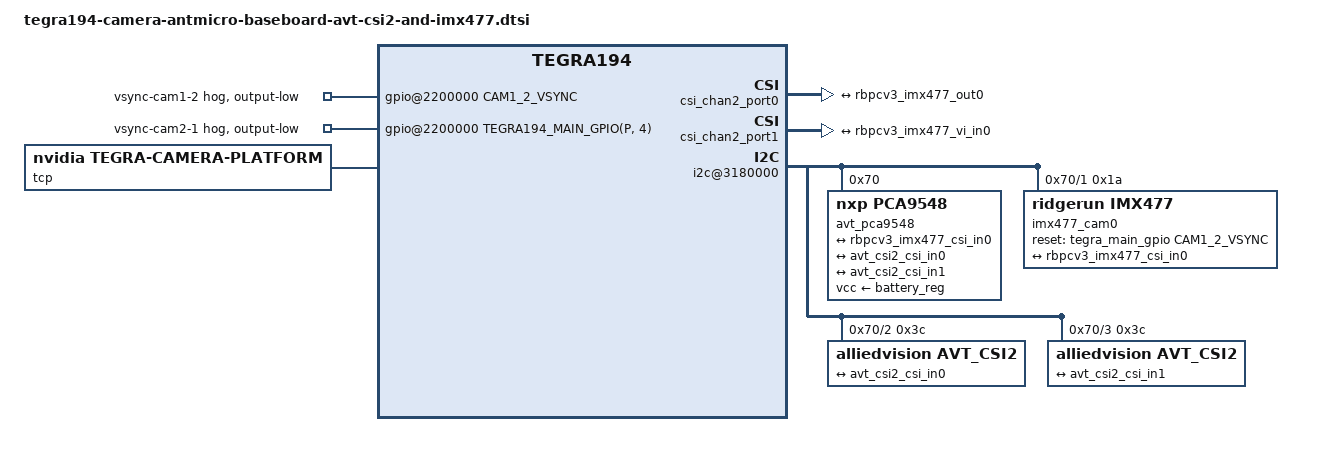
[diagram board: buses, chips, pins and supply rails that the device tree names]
/*
 * Copyright (c) 2018-2020, NVIDIA CORPORATION.  All rights reserved.
 *
 * This program is free software; you can redistribute it and/or modify
 * it under the terms of the GNU General Public License as published by
 * the Free Software Foundation; either version 2 of the License, or
 * (at your option) any later version.
 *
 * This program is distributed in the hope that it will be useful, but WITHOUT
 * ANY WARRANTY; without even the implied warranty of MERCHANTABILITY or
 * FITNESS FOR A PARTICULAR PURPOSE.  See the GNU General Public License for
 * more details.
 *
 * You should have received a copy of the GNU General Public License
 * along with this program.  If not, see <http://www.gnu.org/licenses/>.
 */
#include <dt-bindings/media/camera.h>

#define CAMERA_I2C_MUX_BUS(x) (0x1E + x)

#define CAM1_2_VSYNC	TEGRA194_MAIN_GPIO(Q, 6)
#define CAM2_2_VSYNC	TEGRA194_AON_GPIO(CC, 3)

#define ALVIUM_CSI_LANES      2
#define ALVIUM_CSI_LANES_STR  "2"

/ {
	gpio@2200000 {

		// This is the configuration for the first camera on J6, which we don't use
		//  It uses VSYNC_CAM1_1 == pin 228 == GPIO13 == GPIO3_PN.01
		//
		// vsync-cam1-1 {
		// 	gpio-hog;
		// 	output-low;
		// 	gpios = <TEGRA194_MAIN_GPIO(N, 1) 0>;
		// 	label = "vsync-cam1-1";
		// 	status = "okay";
		// };

		// Color camera on J6
		// It uses VSYNC_CAM1_2 == pin 216 == GPIO11 == GPIO3_PQ.06 == gpiochip0.134
		vsync-cam1-2 {
			gpio-hog;
			output-low;
			gpios = <CAM1_2_VSYNC 0>;
			label = "vsync-cam1-2";
			status = "okay";
		};

		// Left stereo camera on J7
		// It uses VSYNC_CAM2_1 == pin 114 == CAM0_PWDN == GPIO3_PP.04 == gpiochip0.124
		vsync-cam2-1 {
			gpio-hog;
			output-low;
			gpios = <TEGRA194_MAIN_GPIO(P, 4) 0>;
			label = "vsync-cam2-1";
			status = "okay";
		};

		// Right stereo camera on J7
		// It uses VSYNC_CAM2_2 == pin 130 == GPIO06 == GPIO3_PCC.03 == gpiochip1.19
		//  == ball name "SPI2_CS0"
		//
		// Strangely, when enabled, it breaks access to the QSPI?
		//
		// vsync-cam2-2 {
		// 	gpio-hog;
		// 	output-low;
		// 	gpios = <CAM2_2_VSYNC 0>;
		// 	label = "vsync-cam2-2";
		// 	status = "okay";
		// };

	};

	host1x {
		vi@15c10000  {
			num-channels = <3>;
			ports {
				#address-cells = <1>;
				#size-cells = <0>;
				vi_port0: port@0 {
					reg = <0>;
					avt_csi2_vi_in0: endpoint {
						port-index = <0>;
						bus-width = <ALVIUM_CSI_LANES>;
						remote-endpoint = <&avt_csi2_csi_out0>;
					};
				};
				vi_port1: port@1 {
					reg = <1>;
					avt_csi2_vi_in1: endpoint {
						port-index = <4>;
						bus-width = <ALVIUM_CSI_LANES>;
						remote-endpoint = <&avt_csi2_csi_out1>;
					};
				};
				vi_port2: port@2 {
					reg = <2>;
					rbpcv3_imx477_vi_in0: endpoint {
						status = "okay";
						port-index = <2>;
						bus-width = <2>;
						remote-endpoint = <&rbpcv3_imx477_csi_out0>;
					};
				};
			};
		};

		nvcsi@15a00000 {
			num-channels = <3>;
			#address-cells = <1>;
			#size-cells = <0>;
			csi_chan0: channel@0 {
				reg = <0>;
				ports {
					#address-cells = <1>;
					#size-cells = <0>;
					csi_chan0_port0: port@0 {
						reg = <0>;
						avt_csi2_csi_in0: endpoint@0 {
							port-index = <0>;
							bus-width = <ALVIUM_CSI_LANES>;
							remote-endpoint = <&avt_csi2_out0>;
						};
					};
					csi_chan0_port1: port@1 {
						reg = <1>;
						avt_csi2_csi_out0: endpoint@1 {
							remote-endpoint = <&avt_csi2_vi_in0>;
						};
					};
				};
			};
			csi_chan1: channel@1 {
				reg = <1>;
				ports {
					#address-cells = <1>;
					#size-cells = <0>;
					csi_chan1_port0: port@0 {
						reg = <0>;
						avt_csi2_csi_in1: endpoint@0 {
							port-index = <4>;
							bus-width = <ALVIUM_CSI_LANES>;
							remote-endpoint = <&avt_csi2_out1>;
						};
					};
					csi_chan1_port1: port@1 {
						reg = <1>;
						avt_csi2_csi_out1: endpoint@1 {
							remote-endpoint = <&avt_csi2_vi_in1>;
						};
					};
				};
			};
			csi_chan2: channel@2 {
				reg = <2>;
				ports {
					#address-cells = <1>;
					#size-cells = <0>;
					csi_chan2_port0: port@0 {
						reg = <0>;
						status = "okay";
						rbpcv3_imx477_csi_in0: endpoint@0 {
							port-index = <2>;
							bus-width = <2>;
							remote-endpoint = <&rbpcv3_imx477_out0>;
						};
					};
					csi_chan2_port1: port@1 {
						reg = <1>;
						status = "okay";
						rbpcv3_imx477_csi_out0: endpoint@1 {
							status = "okay";
							remote-endpoint = <&rbpcv3_imx477_vi_in0>;
						};
					};
				};
			};
		};
	};

	i2c@3180000 {
		avt_pca9548: avt_pca9548@70 {
			compatible = "nxp,pca9548";
			status = "okay";
			reg = <0x70>;
			#address-cells = <1>;
			#size-cells = <0>;
			vcc-supply = <&battery_reg>;
			force_bus_start = <CAMERA_I2C_MUX_BUS(0)>;

			/* I2C mux position 0 / virtual I2C bus 30 is unused */

			/* I2C mux position 1 is the "color" camera on J6
			   Virtual I2C bus 31
			   It uses CSI port C with two lanes */
			i2c@1 {
				reg = <1>;
				i2c-mux,deselect-on-exit;
				#address-cells = <1>;
				#size-cells = <0>;
				imx477_cam0: imx477@1a {
					compatible = "ridgerun,imx477";
					/* I2C device address */
					reg = <0x1a>;

					/* V4L2 device node location */
					devnode = "video2";

					/* Physical dimensions of sensor */
					physical_w = "7.564";
					physical_h = "5.476";

					sensor_model = "imx477";

					use_sensor_mode_id = "true";

					reset-gpios = <&tegra_main_gpio CAM1_2_VSYNC GPIO_ACTIVE_HIGH>;


					mode0 { /* IMX477_MODE_4032X3040 */
						mclk_khz = "24000";
						num_lanes = "2";
						tegra_sinterface = "serial_c";
						phy_mode = "DPHY";
						discontinuous_clk = "no";
						dpcm_enable = "false";
						cil_settletime = "0";

						active_w = "4032";
						active_h = "3040";
						mode_type = "bayer";
						pixel_phase = "rggb";
						csi_pixel_bit_depth = "10";
						readout_orientation = "90";
						line_length = "9024";
						inherent_gain = "1";
						mclk_multiplier = "80";
						pix_clk_hz = "840000000";

						gain_factor = "16";
						framerate_factor = "1000000";
						exposure_factor = "1000000";
						min_gain_val = "16"; /* 1.00x */
						max_gain_val = "356"; /* 22x */
						step_gain_val = "1";
						default_gain = "16"; /* 1.00x */
						min_hdr_ratio = "1";
						max_hdr_ratio = "1";
						min_framerate = "2000000"; /* 2.0 fps */
						max_framerate = "30000000"; /* 30.0 fps */
						step_framerate = "1";
						default_framerate = "30000000"; /* 30.0 fps */
						min_exp_time = "13"; /* us */
						max_exp_time = "683709"; /* us */
						step_exp_time = "1";
						default_exp_time = "2495"; /* us */

						embedded_metadata_height = "2";
					};
					mode1 { /* IMX477_MODE_1920X1080 */
						mclk_khz = "24000";
						num_lanes = "2";
						tegra_sinterface = "serial_c";
						phy_mode = "DPHY";
						discontinuous_clk = "no";
						dpcm_enable = "false";
						cil_settletime = "0";

						active_w = "1920";
						active_h = "1080";
						mode_type = "bayer";
						pixel_phase = "rggb";
						csi_pixel_bit_depth = "10";
						readout_orientation = "90";
						line_length = "9024";
						inherent_gain = "1";
						mclk_multiplier = "80";
						pix_clk_hz = "840000000";

						gain_factor = "16";
						framerate_factor = "1000000";
						exposure_factor = "1000000";
						min_gain_val = "16"; /* 1.00x */
						max_gain_val = "356"; /* 22x */
						step_gain_val = "1";
						default_gain = "16"; /* 1.00x */
						min_hdr_ratio = "1";
						max_hdr_ratio = "1";
						min_framerate = "2000000"; /* 2.0 fps */
						max_framerate = "60000000"; /* 60.0 fps */
						step_framerate = "1";
						default_framerate = "60000000"; /* 60.0 fps */
						min_exp_time = "13"; /* us */
						max_exp_time = "683709"; /* us */
						step_exp_time = "1";
						default_exp_time = "2495"; /* us */

						embedded_metadata_height = "2";
					};
					mode2 { /* IMX477_MODE_1920X1440 */
						mclk_khz = "24000";
						num_lanes = "2";
						tegra_sinterface = "serial_c";
						phy_mode = "DPHY";
						discontinuous_clk = "no";
						dpcm_enable = "false";
						cil_settletime = "0";

						active_w = "1920";
						active_h = "1440";
						mode_type = "bayer";
						pixel_phase = "rggb";
						csi_pixel_bit_depth = "10";
						readout_orientation = "90";
						line_length = "6524";
						inherent_gain = "1";
						mclk_multiplier = "80";
						pix_clk_hz = "840000000";

						gain_factor = "16";
						framerate_factor = "1000000";
						exposure_factor = "1000000";
						min_gain_val = "16"; /* 1.00x */
						max_gain_val = "356"; /* 22x */
						step_gain_val = "1";
						default_gain = "16"; /* 1.00x */
						min_hdr_ratio = "1";
						max_hdr_ratio = "1";
						min_framerate = "2000000"; /* 2.0 fps */
						max_framerate = "60000000"; /* 60.0 fps */
						step_framerate = "1";
						default_framerate = "60000000"; /* 60.0 fps */
						min_exp_time = "13"; /* us */
						max_exp_time = "683709"; /* us */
						step_exp_time = "1";
						default_exp_time = "2495"; /* us */

						embedded_metadata_height = "2";
					};
					mode3 { /* IMX477_MODE_2028X1520 */
						mclk_khz = "24000";
						num_lanes = "2";
						tegra_sinterface = "serial_c";
						phy_mode = "DPHY";
						discontinuous_clk = "no";
						dpcm_enable = "false";
						cil_settletime = "0";

						active_w = "2028";
						active_h = "1520";
						mode_type = "bayer";
						pixel_phase = "rggb";
						csi_pixel_bit_depth = "10";
						readout_orientation = "90";
						line_length = "6524";
						inherent_gain = "1";
						mclk_multiplier = "80";
						pix_clk_hz = "840000000";

						gain_factor = "16";
						framerate_factor = "1000000";
						exposure_factor = "1000000";
						min_gain_val = "16"; /* 1.00x */
						max_gain_val = "356"; /* 22x */
						step_gain_val = "1";
						default_gain = "16"; /* 1.00x */
						min_hdr_ratio = "1";
						max_hdr_ratio = "1";
						min_framerate = "2000000"; /* 2.0 fps */
						max_framerate = "60000000"; /* 60.0 fps */
						step_framerate = "1";
						default_framerate = "60000000"; /* 60.0 fps */
						min_exp_time = "13"; /* us */
						max_exp_time = "683709"; /* us */
						step_exp_time = "1";
						default_exp_time = "2495"; /* us */

						embedded_metadata_height = "2";
					};

					ports {
						#address-cells = <1>;
						#size-cells = <0>;
						port@0 {
							reg = <0>;
							rbpcv3_imx477_out0: endpoint {
								port-index = <2>;
								bus-width = <2>;
								remote-endpoint = <&rbpcv3_imx477_csi_in0>;
							};
						};
					};
				};
			};

			/* I2C mux position 2 is the "right" camera on J7
			   Virtual I2C bus 32
			   (sync pin for this camera is currently disabled, but it 
			   can be triggered by a "jumpered" Y-cable
			   It uses CSI ports A and B with 2/4 lanes */
			i2c@2 {
				reg = <2>;
				i2c-mux,deselect-on-exit;
				#address-cells = <1>;
				#size-cells = <0>;
				avt_csi2@3c {
					compatible = "alliedvision,avt_csi2";
					/* I2C device address */
					reg = <0x3c>;

					status = "okay";

					/* V4L2 device node location */
					devnode = "video0";

					mode0 {
						num_lanes = ALVIUM_CSI_LANES_STR;
						tegra_sinterface = "serial_a";
						discontinuous_clk = "no";
						cil_settletime = "0";
						embedded_metadata_height = "0";

						/* not verified: */
						mclk_khz = "24000";
						phy_mode = "DPHY";
						dpcm_enable = "false";

						active_w = "1936";
						active_h = "1216";
						pixel_t = "grey8";
						readout_orientation = "0";
						line_length = "1936";
						inherent_gain = "1";
						mclk_multiplier = "31.25";
						pix_clk_hz = "750000000";

						gain_factor = "16";
						framerate_factor = "1000000";
						exposure_factor = "1000000";
						min_gain_val = "16"; /* 1.0 */
						max_gain_val = "256"; /* 16.0 */
						step_gain_val = "1"; /* 0.125 */
						min_hdr_ratio = "1";
						max_hdr_ratio = "64";
						min_framerate = "1500000"; /* 1.5 */
						max_framerate = "30000000"; /* 30 */
						step_framerate = "1";
						min_exp_time = "34"; /* us */
						max_exp_time = "550385"; /* us */
						step_exp_time = "1";
					};

					ports {
						#address-cells = <1>;
						#size-cells = <0>;
						port@0 {
							reg = <0>;
							avt_csi2_out0: endpoint {
								port-index = <0>;
								bus-width = <ALVIUM_CSI_LANES>;
								remote-endpoint = <&avt_csi2_csi_in0>;
							};
						};
					};
				};
			};

			/* I2C mux position 3 is the "left" camera on J7
			   Virtual I2C bus 33
			   It uses VSYNC_CAM2_1 == pin 114 == CAM0_PWDN == GPIO3_PP.04
			   It uses CSI ports E and F with 2/4 lanes */
			i2c@3 {
				reg = <3>;
				i2c-mux,deselect-on-exit;
				#address-cells = <1>;
				#size-cells = <0>;

				avt_csi2@3c {
					compatible = "alliedvision,avt_csi2";
					/* I2C device address */
					reg = <0x3c>;

					status = "okay";

					/* V4L2 device node location */
					devnode = "video1";

					mode0 {
						num_lanes = ALVIUM_CSI_LANES_STR;
						tegra_sinterface = "serial_e";
						discontinuous_clk = "no";
						cil_settletime = "0";
						embedded_metadata_height = "0";

						/* not verified: */
						mclk_khz = "24000";
						phy_mode = "DPHY";
						dpcm_enable = "false";

						active_w = "1936";
						active_h = "1216";
						pixel_t = "grey8";
						readout_orientation = "0";
						line_length = "1936";
						inherent_gain = "1";
						mclk_multiplier = "31.25";
						pix_clk_hz = "750000000";

						gain_factor = "16";
						framerate_factor = "1000000";
						exposure_factor = "1000000";
						min_gain_val = "16"; /* 1.0 */
						max_gain_val = "256"; /* 16.0 */
						step_gain_val = "1"; /* 0.125 */
						min_hdr_ratio = "1";
						max_hdr_ratio = "64";
						min_framerate = "1500000"; /* 1.5 */
						max_framerate = "30000000"; /* 30 */
						step_framerate = "1";
						min_exp_time = "34"; /* us */
						max_exp_time = "550385"; /* us */
						step_exp_time = "1";
					};

					ports {
						#address-cells = <1>;
						#size-cells = <0>;
						port@0 {
							reg = <0>;
							avt_csi2_out1: endpoint {
								status = "okay";
								port-index = <4>;
								bus-width = <ALVIUM_CSI_LANES>;
								remote-endpoint = <&avt_csi2_csi_in1>;
							};
						};
					};
				};
			};
		};
	};
};
/ {
	tcp: tegra-camera-platform {
		compatible = "nvidia, tegra-camera-platform";
		/**
		* Physical settings to calculate max ISO BW
		*
		* num_csi_lanes = <>;
		* Total number of CSI lanes when all cameras are active
		*
		* max_lane_speed = <>;
		* Max lane speed in Kbit/s
		*
		* min_bits_per_pixel = <>;
		* Min bits per pixel
		*
		* vi_peak_byte_per_pixel = <>;
		* Max byte per pixel for the VI ISO case
		*
		* vi_bw_margin_pct = <>;
		* Vi bandwidth margin in percentage
		*
		* max_pixel_rate = <>;
		* Max pixel rate in Kpixel/s for the ISP ISO case
		*
		* isp_peak_byte_per_pixel = <>;
		* Max byte per pixel for the ISP ISO case
		*
		* isp_bw_margin_pct = <>;
		* Isp bandwidth margin in percentage
		*/
		num_csi_lanes = <10>;
		max_lane_speed = <1500000>;
		min_bits_per_pixel = <10>;
		vi_peak_byte_per_pixel = <2>;
		vi_bw_margin_pct = <25>;
		max_pixel_rate = <240000>;
		isp_peak_byte_per_pixel = <5>;
		isp_bw_margin_pct = <25>;

		/**
		 * The general guideline for naming badge_info contains 3 parts, and is as follows,
		 * The first part is the camera_board_id for the module; if the module is in a FFD
		 * platform, then use the platform name for this part.
		 * The second part contains the position of the module, ex. "rear" or "front".
		 * The third part contains the last 6 characters of a part number which is found
		 * in the module's specsheet from the vendor.
		 */
		modules {

			cam_module0: module0 {
				badge = "antmicro_front_imx477";
				position = "top";
				orientation = "1";
				status = "okay";
				cam_module0_drivernode0: drivernode0 {
					status = "okay";
					pcl_id = "v4l2_sensor";
					devname = "imx477 31-001a";
					proc-device-tree = "/proc/device-tree/i2c@3180000/avt_pca9548@70/i2c@1/imx477@1a";
				};
			};
		};
	};
};

